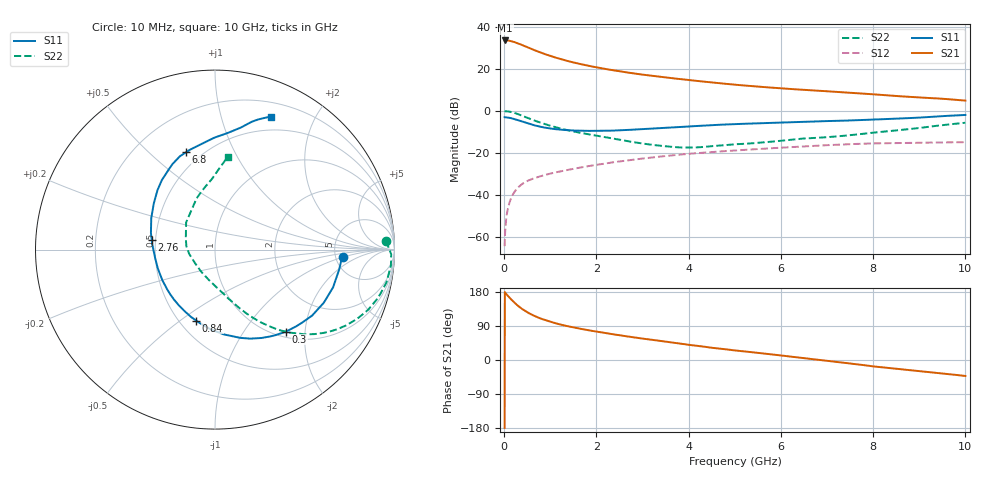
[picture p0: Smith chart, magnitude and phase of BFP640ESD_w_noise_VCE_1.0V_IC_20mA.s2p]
! Infineon Technologies  Discrete & RF Semiconductors
! BFP640ESD
! VCE =  1.0 V,  IC =  20 mA
! Common Emitter S-Parameters:  Jan 2016
# GHz  S  MA  R  50
!  f  S11  S21  S12  S22
! GHz  MAG  ANG  MAG  ANG  MAG  ANG  MAG  ANG
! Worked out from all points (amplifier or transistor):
!   233 points, 10 MHz to 10 GHz, reference 50 ohm
!   highest |S21| = 33.6 dB at 20 MHz (marker M1)
!   |S21| within 3 dB of that: start of sweep to 477.5 MHz
!   unconditionally stable (mu >= 1): 2.955 GHz to 9.156 GHz
!   at 200 MHz: K = 0.19, MSG = 36.2 dB, |S12| = -39.4 dB
!   at 1.74 GHz: K = 0.89, MSG = 24.3 dB, |S12| = -26.6 dB
!   at 10 GHz: K = 0.92, MSG = 9.9 dB, |S12| = -14.9 dB
!   lowest NFmin = 0.89 dB at 450 MHz
!   S11 on the Smith chart (normalised r, x): 10 MHz: 5.79, -0.93; 300 MHz: 1.11, -1.59; 840 MHz: 0.60, -0.57; 2.76 GHz: 0.48, +0.06; 6.8 GHz: 0.41, +0.66; 10 GHz: 0.35, +1.45
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0.01  0.7118 -3.2  47.62 -179.2  0.0006 106.1  0.9542 2.9
0.02  0.7076 -4.1  47.86 178.1  0.0012 90.9  0.982 -1.5
0.05  0.7009 -9.0  47.85 173.4  0.003 83.6  0.9842 -5.2
0.1  0.6908 -17.7  47.52 166.9  0.0057 81.4  0.9725 -10.9
0.15  0.6744 -26.1  46.27 160.2  0.0083 77.9  0.9482 -16.4
0.24  0.6327 -40.2  43.07 149.4  0.0125 71.9  0.8868 -25.2
0.3  0.6045 -49.1  40.84 143.0  0.0149 68.6  0.8412 -30.3
0.36  0.5747 -57.2  38.41 137.3  0.0171 65.9  0.7935 -34.8
0.44  0.538 -67.0  35.28 130.5  0.0196 63.0  0.7324 -39.9
0.6  0.4743 -84.3  29.74 119.2  0.0238 59.1  0.6234 -47.9
0.7  0.443 -93.7  26.89 113.8  0.0261 57.7  0.5682 -51.8
0.84  0.409 -104.9  23.55 107.4  0.029 56.4  0.5043 -56.0
1  0.3815 -116.8  20.48 100.9  0.0321 55.6  0.4437 -60.3
1.2  0.3601 -129.3  17.55 94.2  0.0359 54.9  0.3868 -64.6
1.68  0.3375 -152.5  12.93 81.8  0.0454 53.9  0.2977 -72.8
2.2  0.3365 -171.5  9.979 70.9  0.0562 51.8  0.2363 -81.8
2.76  0.3569 171.4  7.984 60.6  0.0682 48.6  0.1839 -96.2
3.4  0.3894 155.9  6.48 50.1  0.0822 43.8  0.1478 -118.5
5.1  0.491 126.3  4.136 24.1  0.1162 28.7  0.1626 170.2
6.8  0.5656 106.6  3.035 0.9  0.1489 12.8  0.2298 131.4
8.4  0.6482 84.8  2.313 -22.0  0.1707 -5.4  0.3349 102.5
10  0.8033 67.3  1.765 -42.2  0.18 -20.3  0.5234 82.1
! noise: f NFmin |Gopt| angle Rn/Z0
0.45  0.89  0.04  -158  0.09
0.9  0.89  0.06  -160  0.09
1.9  0.91  0.11  -131  0.1
2.4  0.93  0.12  -127  0.11
5.5  1.18  0.36  -111  0.14
10  1.75  0.58  -76  0.7
